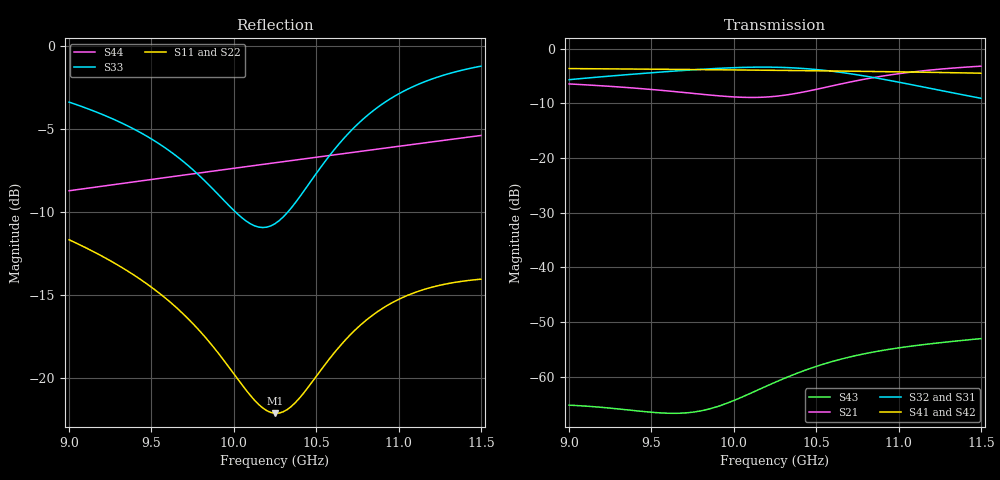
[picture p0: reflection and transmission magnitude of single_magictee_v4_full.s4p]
! Generated from PyAEDT SolutionData; AEDT ExportNetworkData workaround
# GHz S MA R 50
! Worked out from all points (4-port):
!   101 points, 9 GHz to 11.5 GHz, reference 50 ohm
!   strongest paths, dB at 9 GHz, 9.625 GHz, 10.25 GHz, 10.88 GHz, 11.5 GHz:
!     S41: -3.6, -3.8, -3.9, -4.2, -4.5
!     S42: -3.6, -3.8, -4.0, -4.2, -4.5
!     S32: -5.7, -4.1, -3.4, -5.4, -9.1
!     S31: -5.7, -4.1, -3.4, -5.4, -9.1
!     S21: -6.4, -7.8, -8.7, -5.1, -3.2
!     S43: -65.2, -66.7, -61.0, -55.3, -53.0
!   lowest |S11| = -22.2 dB at 10.25 GHz (marker M1), VSWR 1.17, Z = 45.4 - j5.87 ohm
!   |S11| at or under -10 dB: start of sweep to end of sweep
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9  0.2601 124.6  0.4768 174.2  0.5207 -102.6  0.6587 45.9
   0.4768 174.2  0.2613 124.9  0.5215 -102.4  0.6576 -134.0
   0.5207 -102.6  0.5215 -102.4  0.676 177.8  0.0005493 -101.4
   0.6587 45.9  0.6576 -134.0  0.0005493 -101.4  0.3655 -115.2
9.3  0.2176 82.3  0.4476 141.3  0.5699 -159.4  0.6538 11.5
     0.4476 141.3  0.2188 82.8  0.571 -159.2  0.6525 -168.4
     0.5699 -159.4  0.571 -159.2  0.5909 98.5  0.0005072 -154.4
     0.6538 11.5  0.6525 -168.4  0.0005072 -154.4  0.3831 -147.4
9.6  0.171 35.9  0.4112 110.9  0.6174 143.6  0.6484 -22.0
     0.4112 110.9  0.1718 36.7  0.6189 143.8  0.6468 158.2
     0.6174 143.6  0.6189 143.8  0.4856 16.3  0.0004635 163.7
     0.6484 -22.0  0.6468 158.2  0.0004635 163.7  0.4015 -179.0
10.25  0.07804 -124.6  0.3671 63.9  0.6754 15.4  0.6348 -92.0
       0.3671 63.9  0.07686 -125.2  0.6777 15.6  0.6325 88.2
       0.6754 15.4  0.6777 15.6  0.2909 144.7  0.0008884 84.3
       0.6348 -92.0  0.6325 88.2  0.0008884 84.3  0.4438 113.8
10.7  0.1334 104.2  0.4942 30.0  0.5908 -75.1  0.6236 -139.2
      0.4942 30.0  0.1368 103.9  0.5932 -74.9  0.6206 41.2
      0.5908 -75.1  0.5932 -74.9  0.5469 -13.7  0.001511 -2.4
      0.6236 -139.2  0.6206 41.2  0.001511 -2.4  0.4754 68.0
11.05  0.1765 39.8  0.6045 -7.4  0.4767 -140.2  0.6133 -175.3
       0.6045 -7.4  0.1811 40.4  0.4787 -140.1  0.6104 5.2
       0.4767 -140.2  0.4787 -140.1  0.7373 -103.2  0.00188 -72.5
       0.6133 -175.3  0.6104 5.2  0.00188 -72.5  0.5012 32.5
11.5  0.1979 -25.4  0.6931 -57.4  0.3509 144.0  0.5978 138.6
      0.6931 -57.4  0.2008 -24.0  0.3525 144.1  0.5959 -40.7
      0.3509 144.0  0.3525 144.1  0.8675 158.4  0.002231 -158.4
      0.5978 138.6  0.5959 -40.7  0.002231 -158.4  0.5363 -13.1
